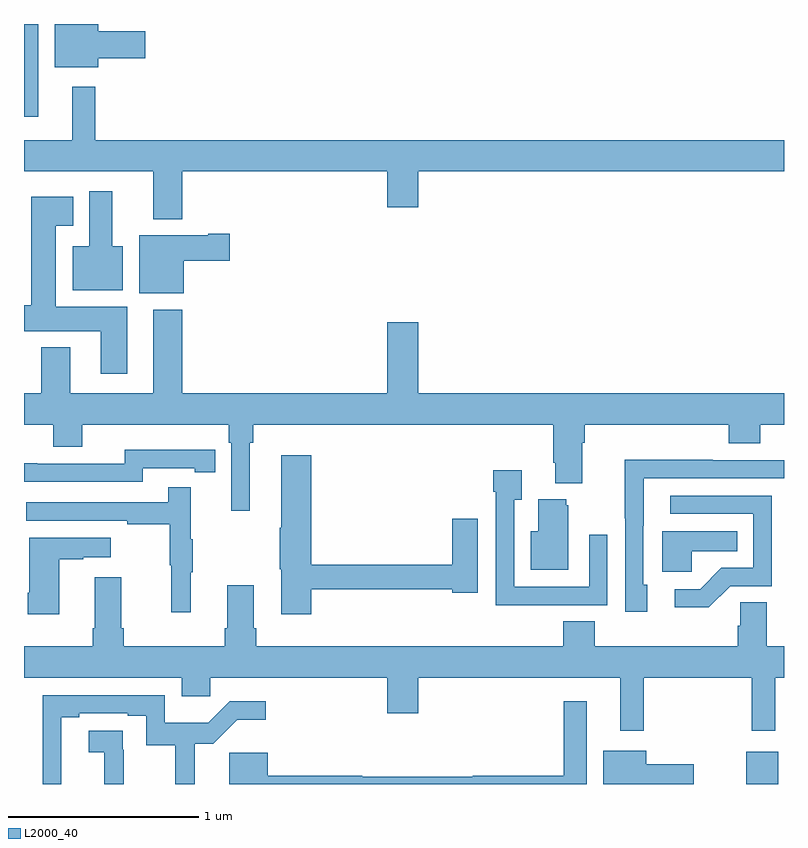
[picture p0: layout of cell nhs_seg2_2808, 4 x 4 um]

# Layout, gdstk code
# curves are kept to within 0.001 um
import gdstk
lib = gdstk.Library(unit=1e-6, precision=1e-09)
def R(c, l, rs):  # rectangles x0, y0, x1, y1
    for r in rs: c.add(gdstk.rectangle(r[:2], r[2:], *l))
def P(c, l, *ps):  # polygons
    for p in ps: c.add(gdstk.Polygon(p, *l))
L2000_40 = (2000, 40)

nhs_seg2_2808 = lib.new_cell('nhs_seg2_2808')
R(nhs_seg2_2808, L2000_40, [(262.802,589.8,262.969,589.969), (259,593.313,259.075,593.8)])
P(nhs_seg2_2808, L2000_40, [(259.39,593.62),(259.639,593.62),(259.639,593.762),(259.39,593.762),(259.39,593.8),(259.163,593.8),(259.163,593.573),(259.39,593.573)],
  [(259.832,593.024),(260.912,593.024),(260.912,592.836),(261.076,592.836),(261.076,593.024),(263,593.024),(263,593.188),(259.375,593.188),(259.375,593.47),(259.253,593.47),(259.253,593.188),(259,593.188),(259,593.024),(259.679,593.024),(259.679,592.772),(259.832,592.772)],
  [(259.519,592.63),(259.465,592.63),(259.465,592.921),(259.343,592.921),(259.343,592.63),(259.256,592.63),(259.256,592.4),(259.519,592.4)],
  [(259.543,592.312),(259.168,592.312),(259.168,592.739),(259.258,592.739),(259.258,592.891),(259.039,592.891),(259.039,592.319),(259,592.319),(259,592.184),(259.403,592.184),(259.403,591.96),(259.543,591.96)],
  [(259.84,592.553),(260.083,592.553),(260.083,592.695),(259.97,592.695),(259.97,592.687),(259.607,592.687),(259.607,592.382),(259.84,592.382)],
  [(260.188,591.596),(260.207,591.596),(260.207,591.692),(261.785,591.692),(261.785,591.49),(261.797,591.49),(261.797,591.383),(261.937,591.383),(261.937,591.596),(261.95,591.596),(261.95,591.692),(262.709,591.692),(262.709,591.593),(262.874,591.593),(262.874,591.692),(263,591.692),(263,591.856),(261.076,591.856),(261.076,592.231),(260.912,592.231),(260.912,591.856),(259.832,591.856),(259.832,592.297),(259.679,592.297),(259.679,591.856),(259.243,591.856),(259.243,592.099),(259.091,592.099),(259.091,591.856),(259,591.856),(259,591.692),(259.154,591.692),(259.154,591.575),(259.306,591.575),(259.306,591.692),(260.078,591.692),(260.078,591.596),(260.091,591.596),(260.091,591.237),(260.188,591.237)],
  [(259.626,591.462),(259.898,591.462),(259.898,591.442),(260.006,591.442),(260.006,591.558),(259.898,591.558),(259.898,591.559),(259.53,591.559),(259.53,591.486),(259.07,591.486),(259.07,591.488),(259,591.488),(259,591.39),(259.626,591.39)],
  [(260.513,590.826),(261.254,590.826),(261.254,590.807),(261.388,590.807),(261.388,591.196),(261.254,591.196),(261.254,590.954),(260.513,590.954),(260.513,591.529),(260.354,591.529),(260.354,591.149),(260.347,591.149),(260.347,590.931),(260.354,590.931),(260.354,590.694),(260.513,590.694)],
  [(262.279,590.85),(262.26,590.85),(262.26,591.16),(262.261,591.16),(262.261,591.408),(263,591.408),(263,591.504),(262.625,591.504),(262.625,591.506),(262.162,591.506),(262.162,591.199),(262.164,591.199),(262.164,590.706),(262.279,590.706)],
  [(261.755,590.742),(262.071,590.742),(262.071,591.112),(261.975,591.112),(261.975,590.838),(261.579,590.838),(261.579,591.295),(261.619,591.295),(261.619,591.451),(261.471,591.451),(261.471,591.338),(261.483,591.338),(261.483,590.741),(261.755,590.741)],
  [(259.877,590.915),(259.888,590.915),(259.888,591.089),(259.877,591.089),(259.877,591.361),(259.759,591.361),(259.759,591.282),(259.011,591.282),(259.011,591.186),(259.543,591.186),(259.543,591.166),(259.767,591.166),(259.767,590.952),(259.774,590.952),(259.774,590.703),(259.877,590.703)],
  [(262.716,590.841),(262.935,590.841),(262.935,591.318),(262.401,591.318),(262.401,591.222),(262.839,591.222),(262.839,590.937),(262.67,590.937),(262.559,590.826),(262.425,590.826),(262.425,590.729),(262.603,590.729)],
  [(261.865,591.267),(261.854,591.267),(261.854,591.298),(261.707,591.298),(261.707,591.13),(261.668,591.13),(261.668,590.927),(261.865,590.927)],
  [(262.515,591.026),(262.754,591.026),(262.754,591.13),(262.358,591.13),(262.358,590.918),(262.515,590.918)],
  [(259.186,590.983),(259.313,590.983),(259.313,590.993),(259.456,590.993),(259.456,591.097),(259.028,591.097),(259.028,590.806),(259.021,590.806),(259.021,590.694),(259.186,590.694)],
  [(260.222,590.62),(260.209,590.62),(260.209,590.845),(260.069,590.845),(260.069,590.62),(260.057,590.62),(260.057,590.524),(259.526,590.524),(259.526,590.62),(259.513,590.62),(259.513,590.887),(259.373,590.887),(259.373,590.62),(259.361,590.62),(259.361,590.524),(259,590.524),(259,590.36),(259.829,590.36),(259.829,590.262),(259.981,590.262),(259.981,590.36),(260.912,590.36),(260.912,590.172),(261.076,590.172),(261.076,590.36),(262.139,590.36),(262.139,590.079),(262.261,590.079),(262.261,590.36),(262.829,590.36),(262.829,590.079),(262.954,590.079),(262.954,590.36),(263,590.36),(263,590.524),(262.909,590.524),(262.909,590.756),(262.77,590.756),(262.77,590.633),(262.757,590.633),(262.757,590.524),(262.004,590.524),(262.004,590.657),(261.839,590.657),(261.839,590.524),(260.222,590.524)],
  [(259.197,589.889),(259.195,589.889),(259.195,590.152),(259.291,590.152),(259.291,590.172),(259.547,590.172),(259.547,590.158),(259.644,590.158),(259.644,590.005),(259.795,590.005),(259.795,589.8),(259.898,589.8),(259.898,590.013),(259.997,590.013),(260.123,590.138),(260.272,590.138),(260.272,590.235),(260.082,590.235),(259.969,590.122),(259.74,590.122),(259.74,590.268),(259.098,590.268),(259.098,589.8),(259.197,589.8)],
  [(261.961,590.236),(261.84,590.236),(261.84,589.844),(261.361,589.844),(261.361,589.837),(260.78,589.837),(260.78,589.844),(260.284,589.844),(260.284,589.965),(260.081,589.965),(260.081,589.8),(261.961,589.8)],
  [(259.526,589.979),(259.52,589.979),(259.52,590.081),(259.341,590.081),(259.341,589.966),(259.423,589.966),(259.423,589.8),(259.526,589.8)],
  [(262.525,589.905),(262.276,589.905),(262.276,589.975),(262.049,589.975),(262.049,589.8),(262.525,589.8)])

lib.write_gds('nhs_seg2_2808.gds')
